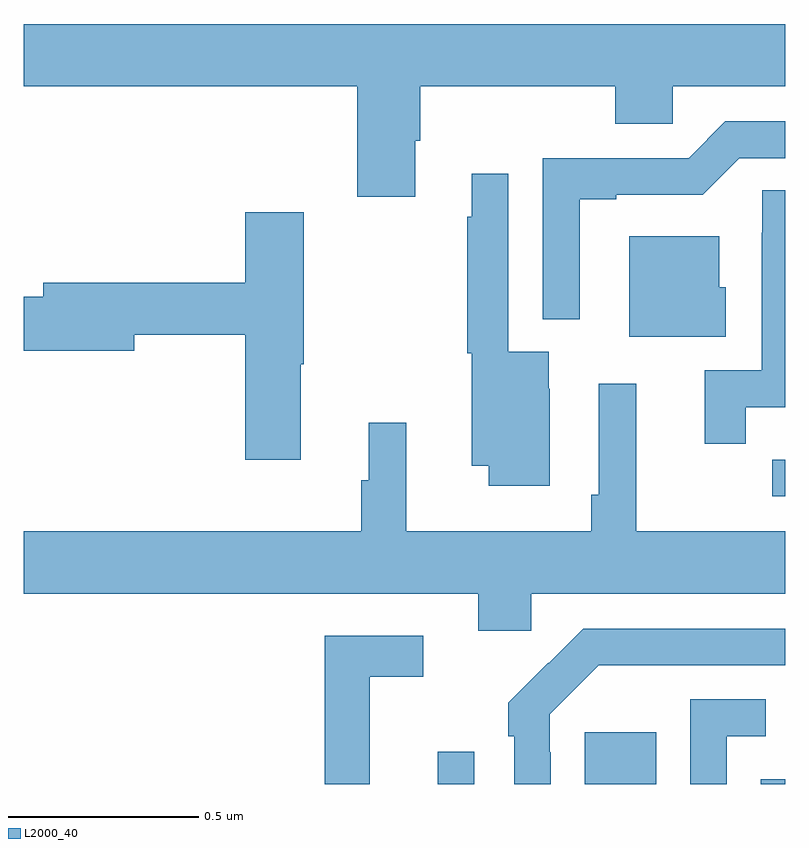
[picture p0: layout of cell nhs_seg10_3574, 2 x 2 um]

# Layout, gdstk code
import gdstk
lib = gdstk.Library(unit=1e-6, precision=1e-09)
def R(c, l, rs):  # rectangles x0, y0, x1, y1
    for r in rs: c.add(gdstk.rectangle(r[:2], r[2:], *l))
def P(c, l, *ps):  # polygons
    for p in ps: c.add(gdstk.Polygon(p, *l))
L2000_40 = (2000, 40)

nhs_seg10_3574 = lib.new_cell('nhs_seg10_3574')
R(nhs_seg10_3574, L2000_40, [(156.087,1282.5,156.183,1282.585), (156.473,1282.5,156.661,1282.636), (156.936,1282.5,157,1282.513), (156.966,1283.256,157,1283.352)])
P(nhs_seg10_3574, L2000_40, [(156.028,1284.19),(156.041,1284.19),(156.041,1284.332),(156.554,1284.332),(156.554,1284.234),(156.705,1284.234),(156.705,1284.332),(157,1284.332),(157,1284.496),(155,1284.496),(155,1284.332),(155.876,1284.332),(155.876,1284.042),(156.028,1284.042)],
  [(156.46,1284.036),(156.556,1284.036),(156.556,1284.048),(156.783,1284.048),(156.879,1284.144),(157,1284.144),(157,1284.24),(156.843,1284.24),(156.747,1284.144),(156.363,1284.144),(156.363,1283.72),(156.46,1283.72)],
  [(156.382,1283.538),(156.379,1283.538),(156.379,1283.635),(156.273,1283.635),(156.273,1284.103),(156.176,1284.103),(156.176,1283.99),(156.165,1283.99),(156.165,1283.631),(156.176,1283.631),(156.176,1283.336),(156.221,1283.336),(156.221,1283.283),(156.382,1283.283)],
  [(156.896,1283.49),(157,1283.49),(157,1284.059),(156.939,1284.059),(156.939,1283.948),(156.938,1283.948),(156.938,1283.586),(156.788,1283.586),(156.788,1283.394),(156.896,1283.394)],
  [(155.728,1283.603),(155.736,1283.603),(155.736,1284.001),(155.582,1284.001),(155.582,1283.816),(155.051,1283.816),(155.051,1283.78),(155,1283.78),(155,1283.638),(155.29,1283.638),(155.29,1283.68),(155.582,1283.68),(155.582,1283.352),(155.728,1283.352)],
  [(156.844,1283.805),(156.826,1283.805),(156.826,1283.938),(156.59,1283.938),(156.59,1283.675),(156.844,1283.675)],
  [(156.333,1283),(157,1283),(157,1283.164),(156.608,1283.164),(156.608,1283.551),(156.51,1283.551),(156.51,1283.26),(156.49,1283.26),(156.49,1283.164),(156.005,1283.164),(156.005,1283.449),(155.906,1283.449),(155.906,1283.298),(155.887,1283.298),(155.887,1283.164),(155,1283.164),(155,1283),(156.194,1283),(156.194,1282.902),(156.333,1282.902)],
  [(156.384,1282.583),(156.381,1282.583),(156.381,1282.683),(156.51,1282.812),(157,1282.812),(157,1282.908),(156.47,1282.908),(156.379,1282.817),(156.378,1282.818),(156.273,1282.713),(156.273,1282.625),(156.288,1282.625),(156.288,1282.5),(156.384,1282.5)],
  [(155.909,1282.782),(156.049,1282.782),(156.049,1282.89),(155.791,1282.89),(155.791,1282.5),(155.909,1282.5)],
  [(156.846,1282.626),(156.949,1282.626),(156.949,1282.722),(156.75,1282.722),(156.75,1282.5),(156.846,1282.5)])

lib.write_gds('nhs_seg10_3574.gds')
